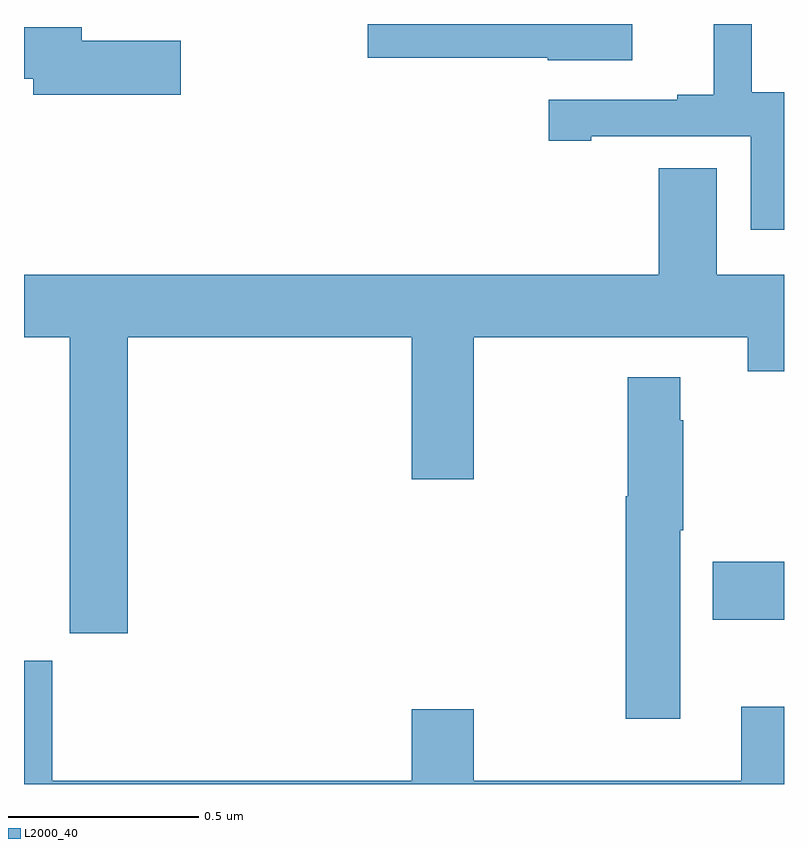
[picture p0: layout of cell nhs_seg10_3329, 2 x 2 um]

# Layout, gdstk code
import gdstk
lib = gdstk.Library(unit=1e-6, precision=1e-09)
def R(c, l, rs):  # rectangles x0, y0, x1, y1
    for r in rs: c.add(gdstk.rectangle(r[:2], r[2:], *l))
def P(c, l, *ps):  # polygons
    for p in ps: c.add(gdstk.Polygon(p, *l))
L2000_40 = (2000, 40)

nhs_seg10_3329 = lib.new_cell('nhs_seg10_3329')
R(nhs_seg10_3329, L2000_40, [(153.812,1272.932,154,1273.085)])
P(nhs_seg10_3329, L2000_40, [(154,1274.321),(153.915,1274.321),(153.915,1274.5),(153.815,1274.5),(153.815,1274.314),(153.719,1274.314),(153.719,1274.301),(153.381,1274.301),(153.381,1274.193),(153.493,1274.193),(153.493,1274.205),(153.912,1274.205),(153.912,1273.959),(154,1273.959)],
  [(153.601,1274.5),(152.904,1274.5),(152.904,1274.411),(153.378,1274.411),(153.378,1274.405),(153.601,1274.405)],
  [(152.413,1274.456),(152.152,1274.456),(152.152,1274.492),(152,1274.492),(152,1274.356),(152.024,1274.356),(152.024,1274.314),(152.413,1274.314)],
  [(152.273,1273.676),(153.02,1273.676),(153.02,1273.302),(153.184,1273.302),(153.184,1273.676),(153.905,1273.676),(153.905,1273.586),(154,1273.586),(154,1273.84),(153.823,1273.84),(153.823,1274.12),(153.671,1274.12),(153.671,1273.84),(152,1273.84),(152,1273.676),(152.12,1273.676),(152.12,1272.897),(152.273,1272.897)],
  [(153.727,1273.168),(153.735,1273.168),(153.735,1273.457),(153.727,1273.457),(153.727,1273.57),(153.589,1273.57),(153.589,1273.257),(153.584,1273.257),(153.584,1272.672),(153.727,1272.672)],
  [(154,1272.703),(153.887,1272.703),(153.887,1272.508),(153.184,1272.508),(153.184,1272.697),(153.02,1272.697),(153.02,1272.508),(152.074,1272.508),(152.074,1272.825),(152,1272.825),(152,1272.5),(154,1272.5)])

lib.write_gds('nhs_seg10_3329.gds')
